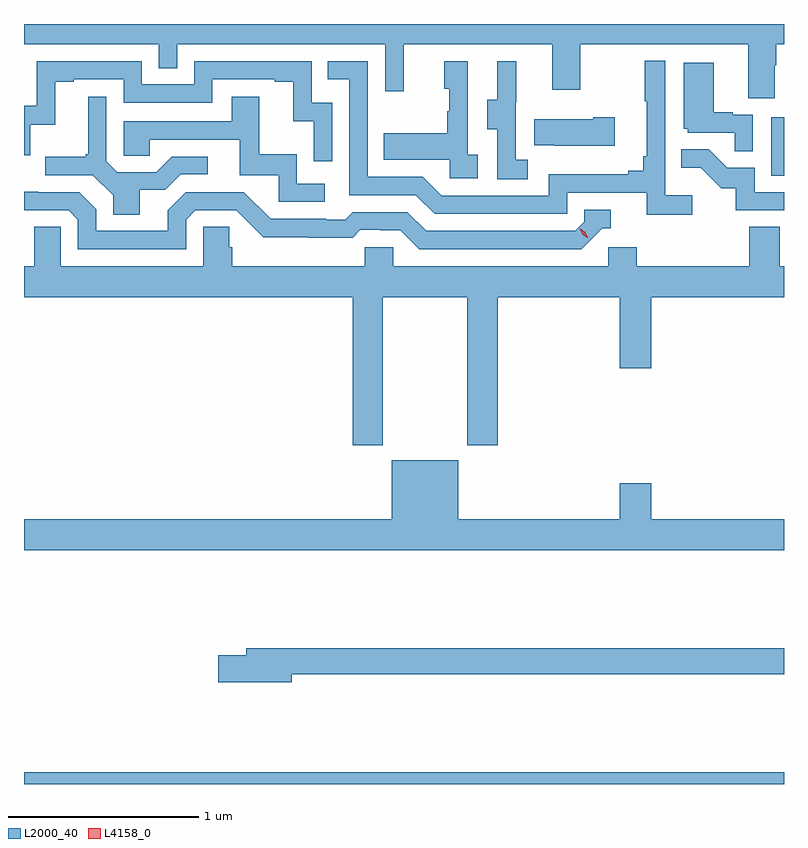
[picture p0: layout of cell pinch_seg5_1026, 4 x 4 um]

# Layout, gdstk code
import gdstk
lib = gdstk.Library(unit=1e-6, precision=1e-09)
def R(c, l, rs):  # rectangles x0, y0, x1, y1
    for r in rs: c.add(gdstk.rectangle(r[:2], r[2:], *l))
def P(c, l, *ps):  # polygons
    for p in ps: c.add(gdstk.Polygon(p, *l))
L2000_40 = (2000, 40)
L4158_0 = (4158, 0)

pinch_seg5_1026 = lib.new_cell('pinch_seg5_1026')
R(pinch_seg5_1026, L2000_40, [(869.164,852.866,873.164,852.928), (873.098,856.068,873.164,856.375)])
P(pinch_seg5_1026, L2000_40, [(873.115,856.648),(873.123,856.648),(873.123,856.76),(873.164,856.76),(873.164,856.866),(869.164,856.866),(869.164,856.76),(869.874,856.76),(869.874,856.633),(869.97,856.633),(869.97,856.76),(871.065,856.76),(871.065,856.512),(871.163,856.512),(871.163,856.76),(871.943,856.76),(871.943,856.521),(872.091,856.521),(872.091,856.76),(872.975,856.76),(872.975,856.474),(873.115,856.474)],
  [(872.68,855.964),(872.538,855.964),(872.538,856.672),(872.43,856.672),(872.43,856.459),(872.441,856.459),(872.441,856.171),(872.422,856.171),(872.422,856.094),(872.345,856.094),(872.345,856.075),(871.926,856.075),(871.926,855.963),(871.362,855.963),(871.263,856.062),(870.972,856.062),(870.972,856.671),(870.763,856.671),(870.763,856.575),(870.876,856.575),(870.876,855.966),(871.226,855.966),(871.325,855.867),(872.022,855.867),(872.022,855.978),(872.441,855.978),(872.441,855.862),(872.68,855.862)],
  [(870.786,856.452),(870.678,856.452),(870.678,856.671),(870.06,856.671),(870.06,856.548),(869.784,856.548),(869.784,856.671),(869.232,856.671),(869.232,856.435),(869.164,856.435),(869.164,856.176),(869.196,856.176),(869.196,856.337),(869.329,856.337),(869.329,856.563),(869.425,856.563),(869.425,856.575),(869.688,856.575),(869.688,856.452),(870.156,856.452),(870.156,856.575),(870.485,856.575),(870.485,856.563),(870.581,856.563),(870.581,856.355),(870.69,856.355),(870.69,856.143),(870.786,856.143)],
  [(871.816,856.151),(871.752,856.151),(871.752,856.455),(871.754,856.455),(871.754,856.669),(871.655,856.669),(871.655,856.467),(871.601,856.467),(871.601,856.312),(871.656,856.312),(871.656,856.048),(871.816,856.048)],
  [(871.552,856.178),(871.5,856.178),(871.5,856.669),(871.376,856.669),(871.376,856.524),(871.402,856.524),(871.402,856.406),(871.392,856.406),(871.392,856.291),(871.057,856.291),(871.057,856.151),(871.404,856.151),(871.404,856.053),(871.552,856.053)],
  [(873,856.389),(872.894,856.389),(872.894,856.402),(872.794,856.402),(872.794,856.663),(872.636,856.663),(872.636,856.314),(872.658,856.314),(872.658,856.293),(872.905,856.293),(872.905,856.195),(873,856.195)],
  [(869.773,855.994),(869.908,855.994),(869.988,856.074),(870.13,856.074),(870.13,856.167),(869.942,856.167),(869.861,856.086),(869.655,856.086),(869.598,856.143),(869.598,856.483),(869.501,856.483),(869.501,856.18),(869.49,856.18),(869.49,856.168),(869.277,856.168),(869.277,856.071),(869.526,856.071),(869.633,855.964),(869.633,855.862),(869.773,855.862)],
  [(870.748,856.026),(870.6,856.026),(870.6,856.18),(870.401,856.18),(870.401,856.483),(870.257,856.483),(870.257,856.353),(869.688,856.353),(869.688,856.173),(869.825,856.173),(869.825,856.257),(870.299,856.257),(870.299,856.071),(870.504,856.071),(870.504,855.93),(870.748,855.93)],
  [(872.272,856.374),(872.159,856.374),(872.159,856.366),(871.849,856.366),(871.849,856.229),(871.957,856.229),(871.957,856.226),(872.272,856.226)],
  [(873.164,855.981),(873.009,855.981),(873.009,856.11),(872.865,856.11),(872.767,856.208),(872.623,856.208),(872.623,856.109),(872.727,856.109),(872.834,856.002),(872.911,856.002),(872.911,855.885),(873.164,855.885)],
  [(870.018,855.837),(870.066,855.885),(870.282,855.885),(870.424,855.743),(870.66,855.743),(870.66,855.741),(870.893,855.741),(870.935,855.783),(871.038,855.783),(871.038,855.78),(871.145,855.78),(871.244,855.681),(872.097,855.681),(872.208,855.792),(872.251,855.792),(872.251,855.888),(872.112,855.888),(872.112,855.825),(872.064,855.777),(871.281,855.777),(871.182,855.876),(870.893,855.876),(870.854,855.837),(870.755,855.837),(870.755,855.84),(870.462,855.84),(870.321,855.981),(870.015,855.981),(869.921,855.887),(869.921,855.777),(869.544,855.777),(869.544,855.891),(869.454,855.981),(869.238,855.981),(869.238,855.983),(869.164,855.983),(869.164,855.885),(869.4,855.885),(869.448,855.837),(869.448,855.681),(870.018,855.681)],
  [(871.053,855.428),(871.498,855.428),(871.498,854.649),(871.658,854.649),(871.658,855.428),(872.3,855.428),(872.3,855.054),(872.464,855.054),(872.464,855.428),(873.164,855.428),(873.164,855.592),(873.141,855.592),(873.141,855.8),(872.981,855.8),(872.981,855.592),(872.39,855.592),(872.39,855.69),(872.238,855.69),(872.238,855.592),(871.107,855.592),(871.107,855.69),(870.957,855.69),(870.957,855.592),(870.26,855.592),(870.26,855.69),(870.245,855.69),(870.245,855.8),(870.108,855.8),(870.108,855.592),(869.358,855.592),(869.358,855.8),(869.219,855.8),(869.219,855.592),(869.164,855.592),(869.164,855.428),(870.893,855.428),(870.893,854.649),(871.053,854.649)],
  [(873.164,854.26),(872.464,854.26),(872.464,854.449),(872.3,854.449),(872.3,854.26),(871.45,854.26),(871.45,854.569),(871.1,854.569),(871.1,854.26),(869.164,854.26),(869.164,854.096),(873.164,854.096)],
  [(870.574,853.444),(873.164,853.444),(873.164,853.58),(870.335,853.58),(870.335,853.544),(870.186,853.544),(870.186,853.402),(870.574,853.402)])
P(pinch_seg5_1026, L4158_0, [(872.134,855.738),(872.104,855.758),(872.088,855.791),(872.088,855.791),(872.089,855.791),(872.119,855.771),(872.134,855.738),(872.134,855.738)])

lib.write_gds('pinch_seg5_1026.gds')
